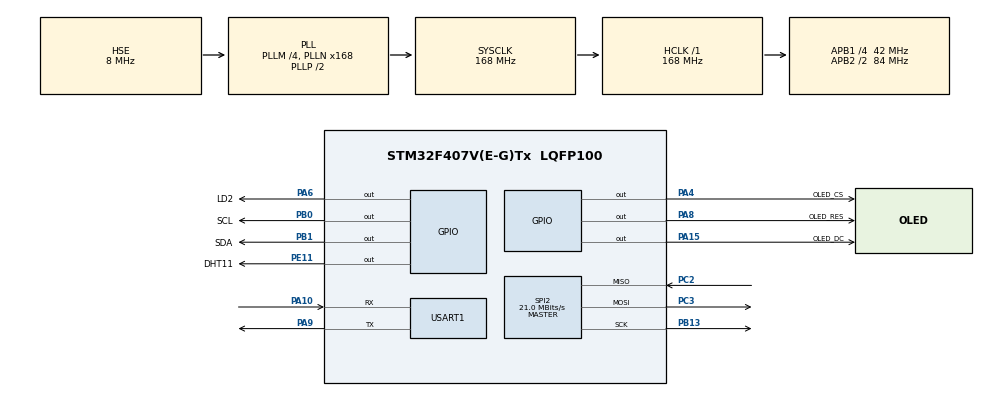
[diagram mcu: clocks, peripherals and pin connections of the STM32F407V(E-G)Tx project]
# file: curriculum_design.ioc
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Dma.Request0=USART1_RX
Dma.Request1=USART1_TX
Dma.USART1_RX.0.Direction=DMA_PERIPH_TO_MEMORY
Dma.USART1_RX.0.FIFOMode=DMA_FIFOMODE_DISABLE
Dma.USART1_RX.0.Instance=DMA2_Stream2
Dma.USART1_RX.0.MemDataAlignment=DMA_MDATAALIGN_BYTE
Dma.USART1_RX.0.MemInc=DMA_MINC_ENABLE
Dma.USART1_RX.0.Mode=DMA_CIRCULAR
Dma.USART1_RX.0.PeriphDataAlignment=DMA_PDATAALIGN_BYTE
Dma.USART1_RX.0.PeriphInc=DMA_PINC_DISABLE
Dma.USART1_RX.0.Priority=DMA_PRIORITY_LOW
Dma.USART1_TX.1.Direction=DMA_MEMORY_TO_PERIPH
Dma.USART1_TX.1.FIFOMode=DMA_FIFOMODE_DISABLE
Dma.USART1_TX.1.Instance=DMA2_Stream7
Dma.USART1_TX.1.MemDataAlignment=DMA_MDATAALIGN_BYTE
Dma.USART1_TX.1.MemInc=DMA_MINC_ENABLE
Dma.USART1_TX.1.Mode=DMA_NORMAL
Dma.USART1_TX.1.PeriphDataAlignment=DMA_PDATAALIGN_BYTE
Dma.USART1_TX.1.PeriphInc=DMA_PINC_DISABLE
Dma.USART1_TX.1.Priority=DMA_PRIORITY_LOW
Mcu.Family=STM32F4
Mcu.Name=STM32F407V(E-G)Tx
Mcu.Package=LQFP100
NVIC.DMA2_Stream2_IRQn=true\:0\:0\:false\:false\:true\:false\:true
NVIC.DMA2_Stream7_IRQn=true\:0\:0\:false\:false\:true\:false\:true
NVIC.PriorityGroup=NVIC_PRIORITYGROUP_4
NVIC.USART1_IRQn=true\:0\:0\:false\:false\:true\:true\:true
PA10.Mode=Asynchronous
PA10.Signal=USART1_RX
PA13.Mode=Serial_Wire
PA13.Signal=SYS_JTMS-SWDIO
PA14.Mode=Serial_Wire
PA14.Signal=SYS_JTCK-SWCLK
PA15.GPIO_Label=OLED_DC
PA15.GPIO_Speed=GPIO_SPEED_FREQ_HIGH
PA15.Signal=GPIO_Output
PA4.GPIO_Label=OLED_CS
PA4.Signal=GPIO_Output
PA6.GPIO_Label=LD2
PA6.GPIO_PuPd=GPIO_PULLUP
PA6.GPIO_Speed=GPIO_SPEED_FREQ_HIGH
PA6.PinState=GPIO_PIN_SET
PA6.Signal=GPIO_Output
PA8.GPIO_Label=OLED_RES
PA8.Signal=GPIO_Output
PA9.Mode=Asynchronous
PA9.Signal=USART1_TX
PB0.GPIO_Label=SCL
PB0.GPIO_Speed=GPIO_SPEED_FREQ_VERY_HIGH
PB0.Signal=GPIO_Output
PB1.GPIO_Label=SDA
PB1.GPIO_Speed=GPIO_SPEED_FREQ_VERY_HIGH
PB1.Signal=GPIO_Output
PB13.Mode=Full_Duplex_Master
PB13.Signal=SPI2_SCK
PC2.Mode=Full_Duplex_Master
PC2.Signal=SPI2_MISO
PC3.Mode=Full_Duplex_Master
PC3.Signal=SPI2_MOSI
PE11.GPIO_Label=DHT11
PE11.GPIO_PuPd=GPIO_PULLUP
PE11.GPIO_Speed=GPIO_SPEED_FREQ_HIGH
PE11.Signal=GPIO_Output
PH0-OSC_IN.Mode=HSE-External-Oscillator
PH0-OSC_IN.Signal=RCC_OSC_IN
PH1-OSC_OUT.Mode=HSE-External-Oscillator
PH1-OSC_OUT.Signal=RCC_OSC_OUT
ProjectManager.HeapSize=0x200
ProjectManager.StackSize=0x400
ProjectManager.TargetToolchain=MDK-ARM V5.32
RCC.48MHZClocksFreq_Value=84000000
RCC.AHBFreq_Value=168000000
RCC.APB1CLKDivider=RCC_HCLK_DIV4
RCC.APB1Freq_Value=42000000
RCC.APB1TimFreq_Value=84000000
RCC.APB2CLKDivider=RCC_HCLK_DIV2
RCC.APB2Freq_Value=84000000
RCC.APB2TimFreq_Value=168000000
RCC.CortexFreq_Value=168000000
RCC.HCLKFreq_Value=168000000
RCC.HSE_VALUE=8000000
RCC.HSI_VALUE=16000000
RCC.LSE_VALUE=32768
RCC.PLLM=4
RCC.PLLN=168
RCC.PLLSourceVirtual=RCC_PLLSOURCE_HSE
RCC.SYSCLKFreq_VALUE=168000000
RCC.SYSCLKSource=RCC_SYSCLKSOURCE_PLLCLK
RCC.VCOOutputFreq_Value=336000000
SPI2.CalculateBaudRate=21.0 MBits/s
SPI2.Direction=SPI_DIRECTION_2LINES
SPI2.Mode=SPI_MODE_MASTER
SPI2.VirtualType=VM_MASTER
TIM6.Prescaler=84-1
USART1.VirtualMode=VM_ASYNC
VP_TIM6_VS_ClockSourceINT.Mode=Enable_Timer
board=custom

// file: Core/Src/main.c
/* USER CODE BEGIN Header */
/**
  ******************************************************************************
  * @file           : main.c
  * @brief          : Main program body
  ******************************************************************************
  * @attention
  *
  * <h2><center>&copy; Copyright (c) 2021 STMicroelectronics.
  * All rights reserved.</center></h2>
  *
  * This software component is licensed by ST under BSD 3-Clause license,
  * the "License"; You may not use this file except in compliance with the
  * License. You may obtain a copy of the License at:
  *                        opensource.org/licenses/BSD-3-Clause
  *
  ******************************************************************************
  */
/* USER CODE END Header */
#include "main.h"
#include "dma.h"
#include "spi.h"
#include "tim.h"
#include "usart.h"
#include "gpio.h"

/* USER CODE BEGIN Includes */
#include "stdio.h"
#include "dht11.h"
#include "sgp30.h"
#include "oled.h"
#include <GUI.h>       //字库
/* USER CODE END Includes */

void SystemClock_Config(void);

/* USER CODE BEGIN 0 */
uint8_t aRxBuffer[1];
uint8_t aTxBuffer[]="ok";

uint32_t CO2Data,TVOCData;//定义CO2浓度变量与TVOC浓度变量
/* USER CODE END 0 */

int main(void)
{
  /* USER CODE BEGIN 1 */
  uint16_t temperature;
  uint16_t humidity;

	unsigned long sgp30_dat;
  /* USER CODE END 1 */

  /* MCU Configuration--------------------------------------------------------*/

  /* Reset of all peripherals, Initializes the Flash interface and the Systick. */
  HAL_Init();

  /* Configure the system clock */
  SystemClock_Config();

  /* Initialize all configured peripherals */
  MX_GPIO_Init();
  MX_DMA_Init();
  MX_USART1_UART_Init();
  MX_TIM6_Init();
  MX_SPI2_Init();
  /* USER CODE BEGIN 2 */
	HAL_UART_Receive_DMA(&huart1,aRxBuffer,1);

	OLED_Init();
	Show_Str(0, 2,"Initializing...", 16, 0);
  while(DHT11_Init()){
	//printf("DHT11 Checked failed!!!\r\n");
	HAL_Delay(500);
  }
  //printf("DHT11 Checked Sucess!!!\r\n");

	SGP30_Init();   //初始化SGP30
	HAL_Delay(100);
	SGP30_Write(0x20,0x08);
	sgp30_dat = SGP30_Read();//读取SGP30的值
	CO2Data = (sgp30_dat & 0xffff0000) >> 16;
	TVOCData = sgp30_dat & 0x0000ffff;
	//SGP30模块开机需要一定时间初始化，在初始化阶段读取的CO2浓度为400ppm，TVOC为0ppd且恒定不变，因此上电后每隔500ms读取一次
	//SGP30模块的值，如果CO2浓度为400ppm，TVOC为0ppd，则屏幕闪烁显示“正在检测中...”，直到SGP30模块初始化完成。
	while(CO2Data == 400 && TVOCData == 0)
	{
		SGP30_Write(0x20,0x08);
		sgp30_dat = SGP30_Read();//读取SGP30的值
		CO2Data = (sgp30_dat & 0xffff0000) >> 16;//取出CO2浓度值
		TVOCData = sgp30_dat & 0x0000ffff;			 //取出TVOC值
		HAL_Delay(500);
	}
	OLED_Clear();
	//printf("ok\r\n");
  /* USER CODE END 2 */

  /* Infinite loop */
  while (1)
  {

    /* USER CODE BEGIN 3 */
		DHT11_Read_Data(&temperature,&humidity);
    SGP30_Write(0x20,0x08);
		sgp30_dat = SGP30_Read();//读取SGP30的值
		CO2Data = (sgp30_dat & 0xffff0000) >> 16;//取出CO2浓度值
		printf("%02d%1d",(temperature>>8)-5,temperature&0xff);
	  printf("%02d%1d",(humidity>>8)+30,humidity&0xff);
		printf("%03d",CO2Data);
		HAL_GPIO_TogglePin(GPIOA,GPIO_PIN_6);

		Show_Str(4, 1,"temp:", 16, 0);
	  OLED_ShowNum(40,1,(temperature>>8)-5,3,16);
		Show_Str(64, 1,".", 16, 0);
		OLED_ShowNum(72,1,temperature&0xff,1,16);
		Show_Str(84,1,"℃", 16, 0);

		Show_Str(4, 3,"humi:", 16, 0);
	  OLED_ShowNum(40,3,(humidity>>8)+30,3,16);
		Show_Str(64, 3,".", 16, 0);
		OLED_ShowNum(72,3,humidity&0xff,1,16);
		Show_Str(84, 3,"%RH", 16, 0);

		Show_Str(4, 5,"CO2:", 16, 0);
	  OLED_ShowNum(40,5,CO2Data,3,16);
		Show_Str(70, 5,"PPM", 16, 0);

    HAL_Delay(1000);		//延时1000ms

  }
  /* USER CODE END 3 */
}

void SystemClock_Config(void)
{
  RCC_OscInitTypeDef RCC_OscInitStruct = {0};
  RCC_ClkInitTypeDef RCC_ClkInitStruct = {0};

  /** Configure the main internal regulator output voltage
  */
  __HAL_RCC_PWR_CLK_ENABLE();
  __HAL_PWR_VOLTAGESCALING_CONFIG(PWR_REGULATOR_VOLTAGE_SCALE1);
  /** Initializes the RCC Oscillators according to the specified parameters
  * in the RCC_OscInitTypeDef structure.
  */
  RCC_OscInitStruct.OscillatorType = RCC_OSCILLATORTYPE_HSE;
  RCC_OscInitStruct.HSEState = RCC_HSE_ON;
  RCC_OscInitStruct.PLL.PLLState = RCC_PLL_ON;
  RCC_OscInitStruct.PLL.PLLSource = RCC_PLLSOURCE_HSE;
  RCC_OscInitStruct.PLL.PLLM = 4;
  RCC_OscInitStruct.PLL.PLLN = 168;
  RCC_OscInitStruct.PLL.PLLP = RCC_PLLP_DIV2;
  RCC_OscInitStruct.PLL.PLLQ = 4;
  if (HAL_RCC_OscConfig(&RCC_OscInitStruct) != HAL_OK)
  {
    Error_Handler();
  }
  /** Initializes the CPU, AHB and APB buses clocks
  */
  RCC_ClkInitStruct.ClockType = RCC_CLOCKTYPE_HCLK|RCC_CLOCKTYPE_SYSCLK
                              |RCC_CLOCKTYPE_PCLK1|RCC_CLOCKTYPE_PCLK2;
  RCC_ClkInitStruct.SYSCLKSource = RCC_SYSCLKSOURCE_PLLCLK;
  RCC_ClkInitStruct.AHBCLKDivider = RCC_SYSCLK_DIV1;
  RCC_ClkInitStruct.APB1CLKDivider = RCC_HCLK_DIV4;
  RCC_ClkInitStruct.APB2CLKDivider = RCC_HCLK_DIV2;

  if (HAL_RCC_ClockConfig(&RCC_ClkInitStruct, FLASH_LATENCY_5) != HAL_OK)
  {
    Error_Handler();
  }
}

/* USER CODE BEGIN 4 */
void HAL_UART_RxCpltCallback(UART_HandleTypeDef *UartHandle)
{
    //HAL_UART_Transmit(&huart1,aRxBuffer,1,0);
}
/* USER CODE END 4 */

void Error_Handler(void)
{
  __disable_irq();
  while (1)
  {
  }
}

/************************ (C) COPYRIGHT STMicroelectronics *****END OF FILE****/
